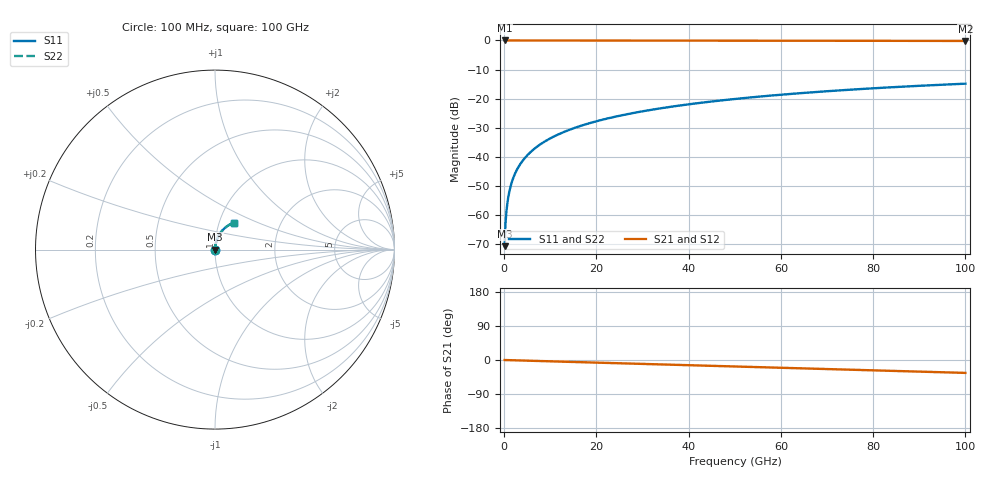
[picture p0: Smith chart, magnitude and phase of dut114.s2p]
! Touchstone file exported from HFSS 2026.1.0
!  File:  C:/ffzhzh/LocalFiles/Ansys_Project_Files/temp_train_TSV_114_1783505987_9504.aedt
!  Generated:  06:21:04 PM Jul  8, 2026
!  Design:  TSV
!  Project:  temp_train_TSV_114_1783505987_9504
! Variables:
!  h_bsmrdl = 2um
!  h_ox = 20um
!  h_rdl = 5um
!  h_sub = 60.62um
!  h_tmrdl = 5um
!  h_tsv = 60.62um
!  h_via = 3um
!  l_bsmrdl = 300um
!  l_sub = 414.48um
!  l_tmrdl = 200um
!  m_sub = 200um
!  pitch = 45.69um
!  r_tsv = 7.24um
!  s_tmrdl = 10um
!  w_bsmrdl = 18um
!  w_sub = 500um
!  w_tmrdl = 12um
!  x_tsv_center1 = 206um
!  x_tsv_center2 = 524um
!  x_tsv_center3 = 736um
!  x_tsv_center4 = 1054um
!  x_tsv_center5 = 1266um
!  x_tsv_center6 = 1584um
# GHz S MA R 50.000000
! Terminal data exported
! Port[1] = TSV1_1_T1
! Port[2] = TSV1_1_T2
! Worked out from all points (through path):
!   1000 points, 100 MHz to 100 GHz, reference 50 ohm
!   highest |S21| = 0.00 dB at 100 MHz (marker M1); lowest = -0.2 dB at 100 GHz (marker M2)
!   group delay of S21, straight-line fit = 944 fs
!   lowest |S11| = -70.7 dB at 100 MHz (marker M3), VSWR 1.00, Z = 50 + j0.0241 ohm
!   |S11| at or under -10 dB: start of sweep to end of sweep
!   |S22| runs from -70.7 to -14.9 dB; largest |S21 - S12| = 3.3e-15
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0.1  0.0002933 55.1  0.9998 -0.0  0.9998 -0.0  0.0002933 55.1
! Gamma 0 0 0 0
! Port Impedance 50 0 50 0
0.4  0.0009498 77.3  0.9998 -0.1  0.9998 -0.1  0.0009498 77.3
0.7  0.001607 81.2  0.9998 -0.3  0.9998 -0.3  0.001607 81.2
0.8  0.001825 81.9  0.9997 -0.3  0.9997 -0.3  0.001825 81.9
1  0.002261 82.8  0.9997 -0.4  0.9997 -0.4  0.002261 82.8
1.3  0.002912 83.6  0.9997 -0.5  0.9997 -0.5  0.002912 83.6
1.7  0.003771 84.1  0.9996 -0.6  0.9996 -0.6  0.003771 84.1
2.3  0.005042 84.5  0.9996 -0.8  0.9996 -0.8  0.005042 84.5
3  0.006503 84.7  0.9995 -1.1  0.9995 -1.1  0.006503 84.7
3.8  0.008157 84.8  0.9994 -1.3  0.9994 -1.3  0.008157 84.8
4.8  0.01021 84.9  0.9993 -1.7  0.9993 -1.7  0.01021 84.9
6  0.01267 84.8  0.9992 -2.1  0.9992 -2.1  0.01267 84.8
8.8  0.01839 84.3  0.999 -3.1  0.999 -3.1  0.01839 84.3
12.4  0.02569 83.5  0.9987 -4.3  0.9987 -4.3  0.02569 83.5
16.8  0.03455 82.2  0.9982 -5.8  0.9982 -5.8  0.03455 82.2
24.2  0.0493 80.0  0.9974 -8.4  0.9974 -8.4  0.0493 80.0
33.4  0.06735 77.1  0.9961 -11.5  0.9961 -11.5  0.06735 77.1
41.2  0.08233 74.6  0.9948 -14.2  0.9948 -14.2  0.08233 74.6
50.1  0.09901 71.6  0.9931 -17.2  0.9931 -17.2  0.09901 71.7
66.7  0.1287 66.2  0.9894 -22.8  0.9894 -22.8  0.1287 66.2
83.4  0.1562 60.7  0.9852 -28.5  0.9852 -28.5  0.1562 60.7
100  0.1809 55.2  0.9807 -34.0  0.9807 -34.0  0.1809 55.2
